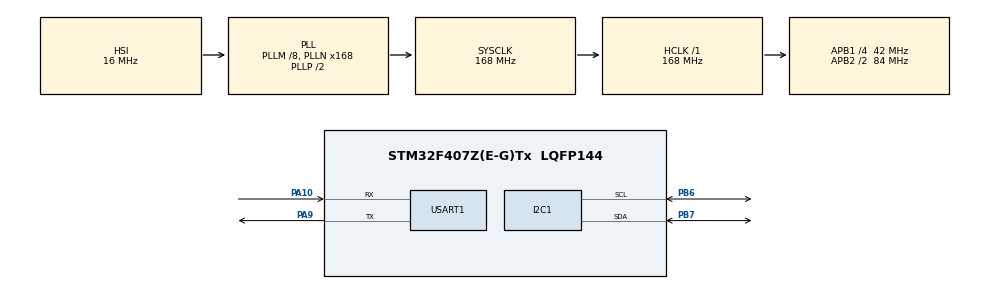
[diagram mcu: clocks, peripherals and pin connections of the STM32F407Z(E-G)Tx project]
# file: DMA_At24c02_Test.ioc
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Dma.I2C1_RX.0.Direction=DMA_PERIPH_TO_MEMORY
Dma.I2C1_RX.0.FIFOMode=DMA_FIFOMODE_DISABLE
Dma.I2C1_RX.0.Instance=DMA1_Stream5
Dma.I2C1_RX.0.MemDataAlignment=DMA_MDATAALIGN_BYTE
Dma.I2C1_RX.0.MemInc=DMA_MINC_ENABLE
Dma.I2C1_RX.0.Mode=DMA_NORMAL
Dma.I2C1_RX.0.PeriphDataAlignment=DMA_PDATAALIGN_BYTE
Dma.I2C1_RX.0.PeriphInc=DMA_PINC_DISABLE
Dma.I2C1_RX.0.Priority=DMA_PRIORITY_LOW
Dma.I2C1_TX.1.Direction=DMA_MEMORY_TO_PERIPH
Dma.I2C1_TX.1.FIFOMode=DMA_FIFOMODE_DISABLE
Dma.I2C1_TX.1.Instance=DMA1_Stream6
Dma.I2C1_TX.1.MemDataAlignment=DMA_MDATAALIGN_BYTE
Dma.I2C1_TX.1.MemInc=DMA_MINC_ENABLE
Dma.I2C1_TX.1.Mode=DMA_NORMAL
Dma.I2C1_TX.1.PeriphDataAlignment=DMA_PDATAALIGN_BYTE
Dma.I2C1_TX.1.PeriphInc=DMA_PINC_DISABLE
Dma.I2C1_TX.1.Priority=DMA_PRIORITY_LOW
Dma.Request0=I2C1_RX
Dma.Request1=I2C1_TX
I2C1.I2C_Mode=I2C_Fast
I2C1.NoStretchMode=I2C_NOSTRETCH_DISABLE
Mcu.Family=STM32F4
Mcu.Name=STM32F407Z(E-G)Tx
Mcu.Package=LQFP144
NVIC.DMA1_Stream5_IRQn=true\:0\:0\:false\:false\:true\:false\:true\:true
NVIC.DMA1_Stream6_IRQn=true\:0\:0\:false\:false\:true\:false\:true\:true
NVIC.I2C1_ER_IRQn=true\:0\:0\:false\:false\:true\:true\:true\:true
NVIC.I2C1_EV_IRQn=true\:0\:0\:false\:false\:true\:true\:true\:true
NVIC.PriorityGroup=NVIC_PRIORITYGROUP_4
PA10.Mode=Asynchronous
PA10.Signal=USART1_RX
PA13.Mode=Serial_Wire
PA13.Signal=SYS_JTMS-SWDIO
PA14.Mode=Serial_Wire
PA14.Signal=SYS_JTCK-SWCLK
PA9.Mode=Asynchronous
PA9.Signal=USART1_TX
PB6.Mode=I2C
PB6.Signal=I2C1_SCL
PB7.Mode=I2C
PB7.Signal=I2C1_SDA
PH0-OSC_IN.Mode=HSE-External-Oscillator
PH0-OSC_IN.Signal=RCC_OSC_IN
PH1-OSC_OUT.Mode=HSE-External-Oscillator
PH1-OSC_OUT.Signal=RCC_OSC_OUT
ProjectManager.HeapSize=0x200
ProjectManager.StackSize=0x400
ProjectManager.TargetToolchain=MDK-ARM V5.32
RCC.48MHZClocksFreq_Value=84000000
RCC.AHBFreq_Value=168000000
RCC.APB1CLKDivider=RCC_HCLK_DIV4
RCC.APB1Freq_Value=42000000
RCC.APB1TimFreq_Value=84000000
RCC.APB2CLKDivider=RCC_HCLK_DIV2
RCC.APB2Freq_Value=84000000
RCC.APB2TimFreq_Value=168000000
RCC.CortexFreq_Value=168000000
RCC.HCLKFreq_Value=168000000
RCC.HSE_VALUE=8000000
RCC.HSI_VALUE=16000000
RCC.LSE_VALUE=32768
RCC.PLLM=8
RCC.PLLN=168
RCC.SYSCLKFreq_VALUE=168000000
RCC.SYSCLKSource=RCC_SYSCLKSOURCE_PLLCLK
RCC.VCOOutputFreq_Value=336000000
USART1.Parity=PARITY_ODD
USART1.VirtualMode=VM_ASYNC
USART1.WordLength=WORDLENGTH_9B
board=custom

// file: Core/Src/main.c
/* USER CODE BEGIN Header */
/**
 ******************************************************************************
 * @file           : main.c
 * @brief          : Main program body
 ******************************************************************************
 * @attention
 *
 * Copyright (c) 2026 STMicroelectronics.
 * All rights reserved.
 *
 * This software is licensed under terms that can be found in the LICENSE file
 * in the root directory of this software component.
 * If no LICENSE file comes with this software, it is provided AS-IS.
 *
 ******************************************************************************
 */
/* USER CODE END Header */
#include "main.h"

/* USER CODE BEGIN Includes */
#include "BSP_At24c02_Dma.h"
#include "BSP_Usart_Redir.h"
/* USER CODE END Includes */

I2C_HandleTypeDef hi2c1;
DMA_HandleTypeDef hdma_i2c1_rx;
DMA_HandleTypeDef hdma_i2c1_tx;

UART_HandleTypeDef huart1;

/* USER CODE BEGIN PV */
uint8_t rx_buffer[8] = {0};
uint8_t tx_buffer[8] = {0xf0, 0xf0, 0xf0, 0xf0, 0xf0, 0xf0, 0xf0, 0xf0};
/* USER CODE END PV */

void SystemClock_Config(void);
static void MX_GPIO_Init(void);
static void MX_DMA_Init(void);
static void MX_I2C1_Init(void);
static void MX_USART1_UART_Init(void);
/* USER CODE BEGIN PFP */
void I2C_Operation_Cb(bool mode);
/* USER CODE END PFP */

int main(void)
{

  /* MCU Configuration--------------------------------------------------------*/

  /* Reset of all peripherals, Initializes the Flash interface and the Systick. */
  HAL_Init();

  /* Configure the system clock */
  SystemClock_Config();

  /* Initialize all configured peripherals */
  MX_GPIO_Init();
  MX_DMA_Init();
  MX_I2C1_Init();
  MX_USART1_UART_Init();
  /* USER CODE BEGIN 2 */
  BSP_Usart_Init(&huart1);
  BSP_At24c02_Init(&hi2c1, I2C_Operation_Cb);
  /* USER CODE END 2 */

  /* Infinite loop */
  /* USER CODE BEGIN WHILE */
  BSP_At24c02_Read_DMA(0, rx_buffer, sizeof(rx_buffer));
  while (atinit.operation != OP_NONE)
  {
  } // 等待读完成

  // 删除 HAL_I2C_MemRxCpltCallback 中的 atinit.cb = NULL;
  BSP_At24c02_Write_Page_DMA(0, tx_buffer, sizeof(tx_buffer));
  while (atinit.operation != OP_NONE)
  {
  } // 等待写完成

  HAL_Delay(10); // 等待 EEPROM 内部写周期

  BSP_At24c02_Read_DMA(0, rx_buffer, sizeof(rx_buffer));
  while (atinit.operation != OP_NONE)
  {
  } // 读回校验
  while (1)
  {
    printf("。。。");
    HAL_Delay(1000);
    /* USER CODE END WHILE */

  }
}

void SystemClock_Config(void)
{
  RCC_OscInitTypeDef RCC_OscInitStruct = {0};
  RCC_ClkInitTypeDef RCC_ClkInitStruct = {0};

  /** Configure the main internal regulator output voltage
   */
  __HAL_RCC_PWR_CLK_ENABLE();
  __HAL_PWR_VOLTAGESCALING_CONFIG(PWR_REGULATOR_VOLTAGE_SCALE1);

  /** Initializes the RCC Oscillators according to the specified parameters
   * in the RCC_OscInitTypeDef structure.
   */
  RCC_OscInitStruct.OscillatorType = RCC_OSCILLATORTYPE_HSI;
  RCC_OscInitStruct.HSIState = RCC_HSI_ON;
  RCC_OscInitStruct.HSICalibrationValue = RCC_HSICALIBRATION_DEFAULT;
  RCC_OscInitStruct.PLL.PLLState = RCC_PLL_ON;
  RCC_OscInitStruct.PLL.PLLSource = RCC_PLLSOURCE_HSI;
  RCC_OscInitStruct.PLL.PLLM = 8;
  RCC_OscInitStruct.PLL.PLLN = 168;
  RCC_OscInitStruct.PLL.PLLP = RCC_PLLP_DIV2;
  RCC_OscInitStruct.PLL.PLLQ = 4;
  if (HAL_RCC_OscConfig(&RCC_OscInitStruct) != HAL_OK)
  {
    Error_Handler();
  }

  /** Initializes the CPU, AHB and APB buses clocks
   */
  RCC_ClkInitStruct.ClockType = RCC_CLOCKTYPE_HCLK | RCC_CLOCKTYPE_SYSCLK | RCC_CLOCKTYPE_PCLK1 | RCC_CLOCKTYPE_PCLK2;
  RCC_ClkInitStruct.SYSCLKSource = RCC_SYSCLKSOURCE_PLLCLK;
  RCC_ClkInitStruct.AHBCLKDivider = RCC_SYSCLK_DIV1;
  RCC_ClkInitStruct.APB1CLKDivider = RCC_HCLK_DIV4;
  RCC_ClkInitStruct.APB2CLKDivider = RCC_HCLK_DIV2;

  if (HAL_RCC_ClockConfig(&RCC_ClkInitStruct, FLASH_LATENCY_5) != HAL_OK)
  {
    Error_Handler();
  }
}

static void MX_I2C1_Init(void)
{

  hi2c1.Instance = I2C1;
  hi2c1.Init.ClockSpeed = 400000;
  hi2c1.Init.DutyCycle = I2C_DUTYCYCLE_2;
  hi2c1.Init.OwnAddress1 = 0;
  hi2c1.Init.AddressingMode = I2C_ADDRESSINGMODE_7BIT;
  hi2c1.Init.DualAddressMode = I2C_DUALADDRESS_DISABLE;
  hi2c1.Init.OwnAddress2 = 0;
  hi2c1.Init.GeneralCallMode = I2C_GENERALCALL_DISABLE;
  hi2c1.Init.NoStretchMode = I2C_NOSTRETCH_DISABLE;
  if (HAL_I2C_Init(&hi2c1) != HAL_OK)
  {
    Error_Handler();
  }
}

static void MX_USART1_UART_Init(void)
{

  huart1.Instance = USART1;
  huart1.Init.BaudRate = 115200;
  huart1.Init.WordLength = UART_WORDLENGTH_9B;
  huart1.Init.StopBits = UART_STOPBITS_1;
  huart1.Init.Parity = UART_PARITY_ODD;
  huart1.Init.Mode = UART_MODE_TX_RX;
  huart1.Init.HwFlowCtl = UART_HWCONTROL_NONE;
  huart1.Init.OverSampling = UART_OVERSAMPLING_16;
  if (HAL_UART_Init(&huart1) != HAL_OK)
  {
    Error_Handler();
  }
}

static void MX_DMA_Init(void)
{

  /* DMA controller clock enable */
  __HAL_RCC_DMA1_CLK_ENABLE();

  /* DMA interrupt init */
  /* DMA1_Stream5_IRQn interrupt configuration */
  HAL_NVIC_SetPriority(DMA1_Stream5_IRQn, 0, 0);
  HAL_NVIC_EnableIRQ(DMA1_Stream5_IRQn);
  /* DMA1_Stream6_IRQn interrupt configuration */
  HAL_NVIC_SetPriority(DMA1_Stream6_IRQn, 0, 0);
  HAL_NVIC_EnableIRQ(DMA1_Stream6_IRQn);
}

static void MX_GPIO_Init(void)
{

  /* GPIO Ports Clock Enable */
  __HAL_RCC_GPIOH_CLK_ENABLE();
  __HAL_RCC_GPIOA_CLK_ENABLE();
  __HAL_RCC_GPIOB_CLK_ENABLE();

}

/* USER CODE BEGIN 4 */
void HAL_I2C_MemRxCpltCallback(I2C_HandleTypeDef *hi2c)
{
  /* Prevent unused argument(s) compilation warning */
  if (hi2c->Instance == atinit.hi2c1->Instance)
  {

    if (atinit.cb)
    {
      atinit.cb(true);
    }
    atinit.status = AT_IDLE;
    atinit.operation = OP_NONE;
  }
  /* NOTE : This function should not be modified, when the callback is needed,
            the HAL_I2C_MemRxCpltCallback could be implemented in the user file
   */
}

void HAL_I2C_ErrorCallback(I2C_HandleTypeDef *hi2c)
{
  /* Prevent unused argument(s) compilation warning */
  if (hi2c->Instance == atinit.hi2c1->Instance)
  {
    if (atinit.cb)
    {
      atinit.cb(false);
    }
    atinit.status = AT_IDLE;
    atinit.operation = OP_NONE;
  }

  /* NOTE : This function should not be modified, when the callback is needed,
            the HAL_I2C_ErrorCallback could be implemented in the user file
   */
}

void HAL_I2C_MemTxCpltCallback(I2C_HandleTypeDef *hi2c)
{
  if (hi2c->Instance == atinit.hi2c1->Instance)
  {
    if (atinit.cb)
    {
      atinit.cb(true);
    }
    atinit.status = AT_IDLE;
    atinit.operation = OP_NONE;
  }
}

void I2C_Operation_Cb(bool mode)
{

  if (atinit.operation == OP_READING)
  {
    if (mode == false)
      printf("读取错误！");
    else
    {
      printf("读取成功rx: ");
      for (int i = 0; i < sizeof(rx_buffer); i++)
        printf("%d ", rx_buffer[i]);
      printf("\n");
    }
  }
  else
  {
    if (mode == false)
      printf("写入错误");
    else
      printf("写入成功");
  }
}

/* USER CODE END 4 */

void Error_Handler(void)
{
  __disable_irq();
  while (1)
  {
  }
}
